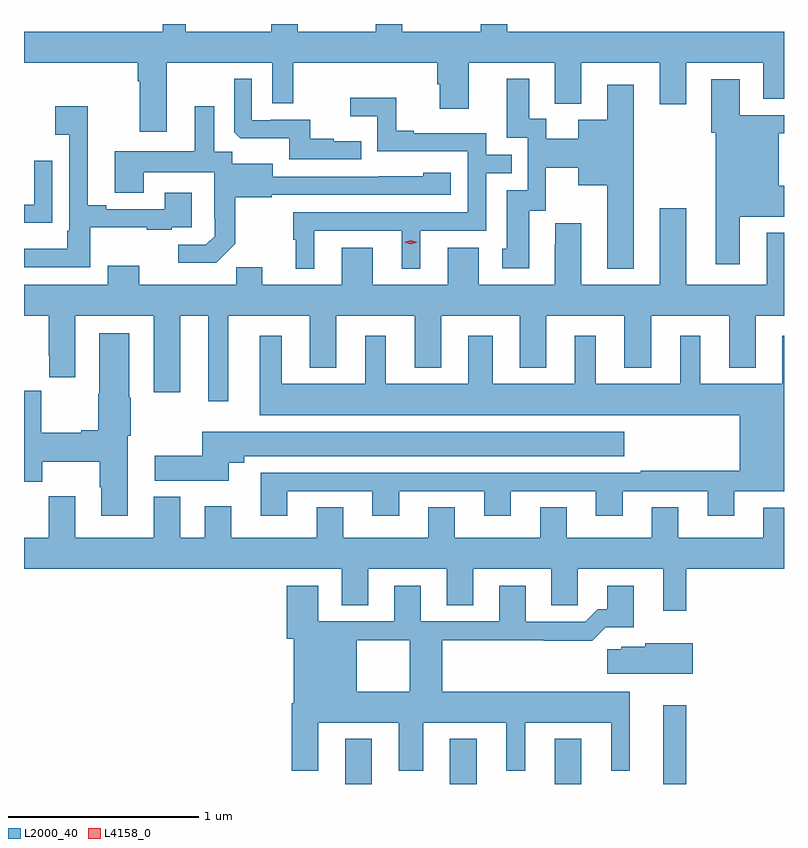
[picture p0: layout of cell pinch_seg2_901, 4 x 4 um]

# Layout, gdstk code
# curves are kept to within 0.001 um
import gdstk
lib = gdstk.Library(unit=1e-6, precision=1e-09)
def R(c, l, rs):  # rectangles x0, y0, x1, y1
    for r in rs: c.add(gdstk.rectangle(r[:2], r[2:], *l))
def A(c, l, x, y, w, h, nx, ny, dx, dy):  # array of equal rectangles
    R(c, l, [(x+i*dx, y+j*dy, x+i*dx+w, y+j*dy+h) for i in range(nx) for j in range(ny)])
def P(c, l, *ps):  # polygons
    for p in ps: c.add(gdstk.Polygon(p, *l))
L2000_40 = (2000, 40)
L4158_0 = (4158, 0)

pinch_seg2_901 = lib.new_cell('pinch_seg2_901')
A(pinch_seg2_901, L2000_40, 459.155, 639.844, 0.14, 0.237, 3, 1, 0.552, 0)
R(pinch_seg2_901, L2000_40, [(460.829,639.844,460.951,640.258)])
P(pinch_seg2_901, L2000_40, [(458.215,643.64),(458.772,643.64),(458.772,643.426),(458.881,643.426),(458.881,643.64),(459.641,643.64),(459.641,643.527),(459.653,643.527),(459.653,643.398),(459.805,643.398),(459.805,643.64),(460.259,643.64),(460.259,643.424),(460.399,643.424),(460.399,643.64),(460.811,643.64),(460.811,643.422),(460.951,643.422),(460.951,643.64),(461.357,643.64),(461.357,643.45),(461.465,643.45),(461.465,643.804),(460.009,643.804),(460.009,643.844),(459.869,643.844),(459.869,643.804),(459.457,643.804),(459.457,643.844),(459.317,643.844),(459.317,643.804),(458.905,643.804),(458.905,643.844),(458.766,643.844),(458.766,643.804),(458.317,643.804),(458.317,643.844),(458.196,643.844),(458.196,643.804),(457.465,643.804),(457.465,643.64),(458.063,643.64),(458.063,643.544),(458.075,643.544),(458.075,643.278),(458.215,643.278)],
  [(460.675,643.525),(460.535,643.525),(460.535,643.339),(460.382,643.339),(460.382,643.24),(460.213,643.24),(460.213,643.346),(460.123,643.346),(460.123,643.555),(460.007,643.555),(460.007,643.245),(460.116,643.245),(460.116,642.969),(460.007,642.969),(460.007,642.66),(459.983,642.66),(459.983,642.558),(460.123,642.558),(460.123,642.861),(460.212,642.861),(460.212,643.088),(460.382,643.088),(460.382,642.995),(460.535,642.995),(460.535,642.557),(460.675,642.557)],
  [(459.239,643.228),(459.095,643.228),(459.095,643.24),(458.972,643.24),(458.972,643.341),(458.764,643.341),(458.764,643.338),(458.664,643.338),(458.664,643.555),(458.571,643.555),(458.571,643.275),(458.603,643.244),(458.862,643.244),(458.862,643.131),(459.239,643.131)],
  [(461.233,642.83),(461.465,642.83),(461.465,642.994),(461.437,642.994),(461.437,643.268),(461.465,643.268),(461.465,643.365),(461.233,643.365),(461.233,643.552),(461.081,643.552),(461.081,643.272),(461.105,643.272),(461.105,642.579),(461.233,642.579)],
  [(458.992,642.756),(459.452,642.756),(459.452,642.557),(459.55,642.557),(459.55,642.756),(459.897,642.756),(459.897,643.059),(460.031,643.059),(460.031,643.155),(459.897,643.155),(459.897,643.269),(459.517,643.269),(459.517,643.282),(459.423,643.282),(459.423,643.457),(459.183,643.457),(459.183,643.358),(459.324,643.358),(459.324,643.173),(459.801,643.173),(459.801,642.852),(458.883,642.852),(458.883,642.708),(458.894,642.708),(458.894,642.557),(458.992,642.557)],
  [(457.813,642.773),(458.111,642.773),(458.111,642.762),(458.243,642.762),(458.243,642.774),(458.347,642.774),(458.347,642.955),(458.207,642.955),(458.207,642.87),(457.897,642.87),(457.897,642.889),(457.801,642.889),(457.801,643.411),(457.629,643.411),(457.629,643.262),(457.704,643.262),(457.704,642.757),(457.692,642.757),(457.692,642.661),(457.465,642.661),(457.465,642.564),(457.813,642.564)],
  [(458.577,642.687),(458.577,642.933),(458.769,642.933),(458.769,642.945),(459.712,642.945),(459.712,643.06),(459.567,643.06),(459.567,643.042),(458.773,643.041),(458.773,643.108),(458.562,643.108),(458.562,643.172),(458.467,643.172),(458.467,643.411),(458.363,643.411),(458.363,643.174),(457.943,643.174),(457.943,642.955),(458.095,642.955),(458.095,643.064),(458.466,643.064),(458.466,642.823),(458.468,642.823),(458.468,642.728),(458.421,642.681),(458.277,642.681),(458.277,642.587),(458.477,642.587)],
  [(457.614,643.123),(457.518,643.123),(457.518,642.894),(457.465,642.894),(457.465,642.797),(457.614,642.797)],
  [(458.539,642.308),(458.969,642.308),(458.969,642.035),(459.109,642.035),(459.109,642.308),(459.521,642.308),(459.521,642.035),(459.661,642.035),(459.661,642.308),(460.073,642.308),(460.073,642.035),(460.213,642.035),(460.213,642.308),(460.625,642.308),(460.625,642.035),(460.765,642.035),(460.765,642.308),(461.177,642.308),(461.177,642.035),(461.317,642.035),(461.317,642.308),(461.465,642.308),(461.465,642.745),(461.375,642.745),(461.375,642.472),(460.951,642.472),(460.951,642.874),(460.811,642.874),(460.811,642.472),(460.399,642.472),(460.399,642.796),(460.26,642.796),(460.26,642.683),(460.259,642.683),(460.259,642.472),(459.859,642.472),(459.859,642.667),(459.695,642.667),(459.695,642.472),(459.301,642.472),(459.301,642.667),(459.137,642.667),(459.137,642.472),(458.719,642.472),(458.719,642.563),(458.581,642.563),(458.581,642.472),(458.071,642.472),(458.071,642.571),(457.907,642.571),(457.907,642.472),(457.465,642.472),(457.465,642.308),(457.595,642.308),(457.595,642.097),(457.598,642.097),(457.598,641.985),(457.735,641.985),(457.735,642.308),(458.147,642.308),(458.147,641.907),(458.287,641.907),(458.287,642.308),(458.435,642.308),(458.435,641.859),(458.539,641.859)],
  [(458.011,641.678),(458.028,641.678),(458.028,641.878),(458.02,641.878),(458.02,642.217),(457.862,642.217),(457.862,641.897),(457.855,641.897),(457.855,641.705),(457.766,641.705),(457.766,641.692),(457.557,641.692),(457.557,641.915),(457.465,641.915),(457.465,641.434),(457.561,641.434),(457.561,641.54),(457.864,641.54),(457.864,641.406),(457.871,641.406),(457.871,641.256),(458.011,641.256)],
  [(458.851,641.385),(459.299,641.385),(459.299,641.256),(459.439,641.256),(459.439,641.385),(459.887,641.385),(459.887,641.256),(460.027,641.256),(460.027,641.385),(460.475,641.385),(460.475,641.256),(460.615,641.256),(460.615,641.385),(461.063,641.385),(461.063,641.256),(461.203,641.256),(461.203,641.384),(461.465,641.384),(461.465,642.202),(461.456,642.202),(461.456,641.95),(461.023,641.95),(461.023,642.202),(460.919,642.202),(460.919,641.95),(460.474,641.95),(460.474,642.202),(460.364,642.202),(460.364,641.95),(459.931,641.95),(459.931,642.202),(459.803,642.202),(459.803,641.95),(459.37,641.95),(459.37,642.202),(459.26,642.202),(459.26,641.95),(458.821,641.95),(458.821,642.202),(458.705,642.202),(458.705,641.786),(461.231,641.786),(461.231,641.494),(460.711,641.494),(460.711,641.481),(458.711,641.481),(458.711,641.256),(458.851,641.256)],
  [(458.542,641.534),(458.623,641.534),(458.623,641.57),(460.624,641.57),(460.624,641.698),(458.402,641.698),(458.402,641.571),(458.154,641.571),(458.154,641.441),(458.542,641.441)],
  [(460.951,640.976),(461.465,640.976),(461.465,641.299),(461.357,641.299),(461.357,641.14),(460.909,641.14),(460.909,641.3),(460.769,641.3),(460.769,641.14),(460.321,641.14),(460.321,641.3),(460.181,641.3),(460.181,641.14),(459.733,641.14),(459.733,641.3),(459.593,641.3),(459.593,641.14),(459.145,641.14),(459.145,641.3),(459.005,641.3),(459.005,641.14),(458.557,641.14),(458.557,641.305),(458.417,641.305),(458.417,641.14),(458.287,641.14),(458.287,641.356),(458.147,641.356),(458.147,641.14),(457.735,641.14),(457.735,641.359),(457.595,641.359),(457.595,641.14),(457.465,641.14),(457.465,640.976),(459.137,640.976),(459.137,640.786),(459.277,640.786),(459.277,640.976),(459.689,640.976),(459.689,640.786),(459.829,640.786),(459.829,640.976),(460.241,640.976),(460.241,640.786),(460.38,640.786),(460.38,640.976),(460.829,640.976),(460.829,640.755),(460.951,640.755)],
  [(458.873,640.27),(458.873,639.915),(459.013,639.915),(459.013,640.166),(459.437,640.166),(459.437,639.915),(459.565,639.915),(459.565,640.166),(460.004,640.166),(460.004,639.915),(460.102,639.915),(460.102,640.166),(460.556,640.166),(460.556,639.915),(460.654,639.915),(460.654,640.33),(459.665,640.33),(459.665,640.6),(460.201,640.6),(460.201,640.598),(460.457,640.598),(460.527,640.668),(460.675,640.668),(460.675,640.888),(460.535,640.888),(460.535,640.765),(460.486,640.765),(460.419,640.698),(460.105,640.698),(460.105,640.888),(459.965,640.888),(459.965,640.701),(459.553,640.701),(459.553,640.888),(459.413,640.888),(459.413,640.701),(459.013,640.701),(459.013,640.888),(458.849,640.888),(458.849,640.608),(458.885,640.608),(458.885,640.33),(459.217,640.33),(459.217,640.6),(459.494,640.6),(459.494,640.33),(458.885,640.33),(458.885,640.27)],
  [(460.984,640.585),(460.734,640.585),(460.734,640.567),(460.608,640.567),(460.608,640.553),(460.536,640.553),(460.536,640.424),(460.984,640.424)])
P(pinch_seg2_901, L4158_0, [(459.501,642.685),(459.465,642.695),(459.465,642.695),(459.465,642.695),(459.501,642.705),(459.537,642.695),(459.537,642.695),(459.537,642.695)])

lib.write_gds('pinch_seg2_901.gds')
